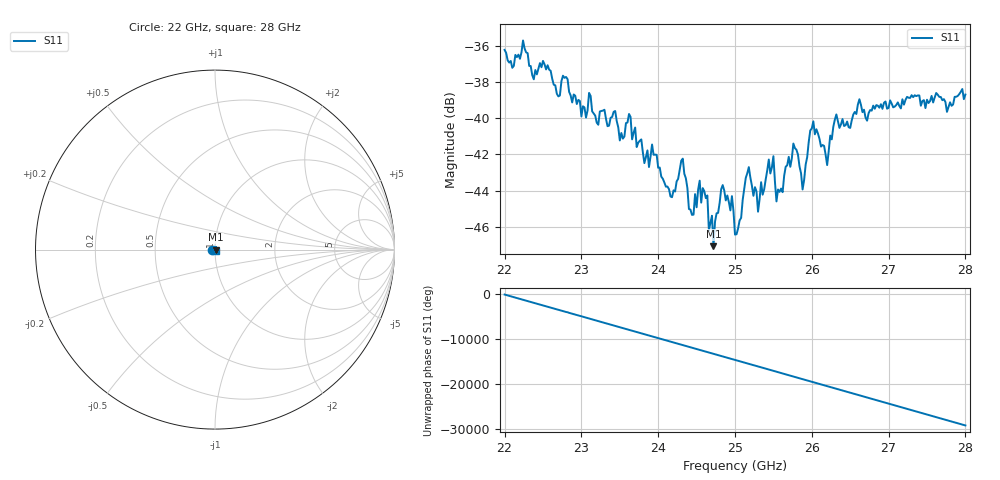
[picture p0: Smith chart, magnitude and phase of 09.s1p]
#  HZ  S  RI  R  50.00
! Rohde & Schwarz ZVA40 4Ports - Version 3.90 - 1145.1110k42 SN: 100403
! Date: 2023-10-04 08:31:53
! Measurement: S12
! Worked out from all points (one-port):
!   301 points, 22 GHz to 28 GHz, reference 50 ohm
!   lowest |S11| = -47.1 dB at 24.72 GHz (marker M1), VSWR 1.01, Z = 50.4 - j0.0114 ohm
!   |S11| at or under -10 dB: start of sweep to end of sweep
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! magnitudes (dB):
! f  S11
! 22 GHz  -36.2
! 22.76 GHz  -37.6
! 23 GHz  -39.9
! 23.44 GHz  -39.6
! 23.5 GHz  -41.2
! 23.62 GHz  -39.8
! 23.82 GHz  -42.5
! 24.26 GHz  -43.3
! 24.32 GHz  -42.2
! 24.44 GHz  -45.3
! 24.54 GHz  -43.4
! 24.72 GHz  -47.1
! 24.84 GHz  -43.7
! 24.96 GHz  -44.3
! 25 GHz  -46.4
! 25.18 GHz  -42.7
! 25.3 GHz  -45.2
! 25.44 GHz  -42.3
! 25.5 GHz  -42.1
! 25.54 GHz  -44.6
! 25.76 GHz  -41.4
! 25.88 GHz  -43.9
! 26.02 GHz  -40.2
! 26.2 GHz  -42.6
! 26.32 GHz  -39.8
! 26.5 GHz  -40.5
! 27.26 GHz  -38.9
! 28 GHz  -38.7
